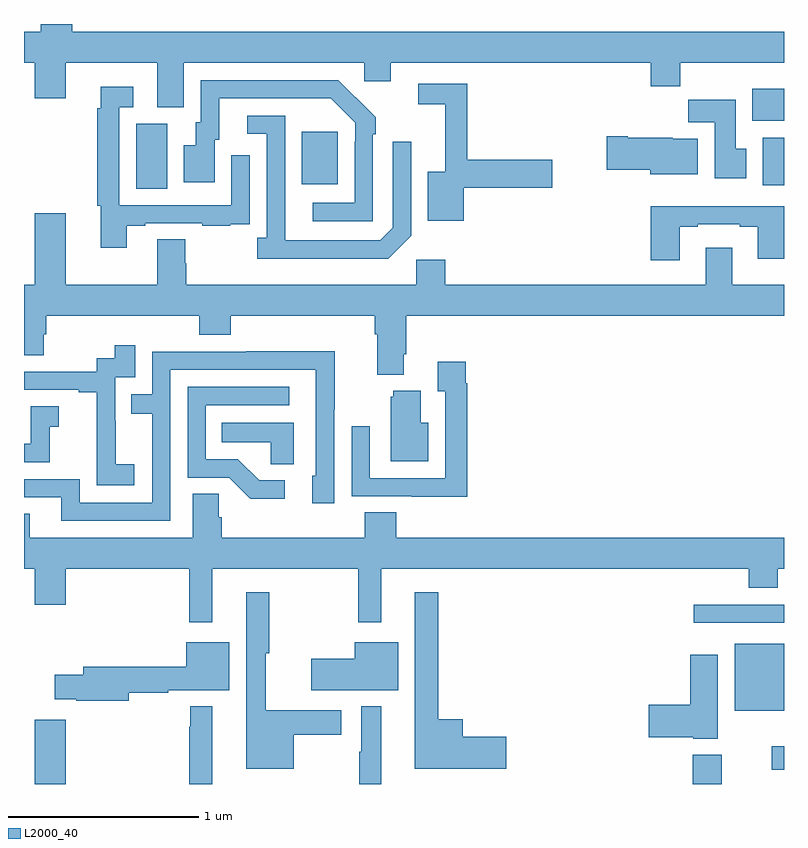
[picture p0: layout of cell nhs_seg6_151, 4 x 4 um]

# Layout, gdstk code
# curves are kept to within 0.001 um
import gdstk
lib = gdstk.Library(unit=1e-6, precision=1e-09)
def R(c, l, rs):  # rectangles x0, y0, x1, y1
    for r in rs: c.add(gdstk.rectangle(r[:2], r[2:], *l))
def P(c, l, *ps):  # polygons
    for p in ps: c.add(gdstk.Polygon(p, *l))
L2000_40 = (2000, 40)

nhs_seg6_151 = lib.new_cell('nhs_seg6_151')
R(nhs_seg6_151, L2000_40, [(117.056,983.5,117.22,983.839), (120.521,983.5,120.673,983.653), (120.936,983.576,121,983.698), (120.74,983.885,121,984.238), (120.525,984.348,121,984.444), (117.59,986.632,117.754,986.976), (120.887,986.652,121,986.902), (118.463,986.657,118.651,986.932), (120.833,986.99,121,987.16)])
P(nhs_seg6_151, L2000_40, [(117.841,987.296),(118.791,987.296),(118.791,987.198),(118.93,987.198),(118.93,987.296),(120.299,987.296),(120.299,987.172),(120.455,987.172),(120.455,987.296),(121,987.296),(121,987.46),(117.254,987.46),(117.254,987.5),(117.089,987.5),(117.089,987.46),(117,987.46),(117,987.296),(117.056,987.296),(117.056,987.108),(117.22,987.108),(117.22,987.296),(117.701,987.296),(117.701,987.061),(117.841,987.061)],
  [(118.836,986.921),(118.851,986.921),(118.851,987.009),(118.654,987.204),(117.93,987.204),(117.93,986.982),(117.905,986.982),(117.905,986.863),(117.842,986.863),(117.842,986.667),(118.003,986.667),(118.003,986.892),(118.027,986.892),(118.027,987.108),(118.615,987.108),(118.743,986.979),(118.743,986.879),(118.74,986.879),(118.74,986.559),(118.521,986.559),(118.521,986.463),(118.836,986.463)],
  [(119.314,986.639),(119.779,986.639),(119.779,986.786),(119.333,986.786),(119.333,987.186),(119.076,987.186),(119.076,987.078),(119.216,987.078),(119.216,986.722),(119.126,986.722),(119.126,986.465),(119.314,986.465)],
  [(117.541,986.439),(117.637,986.439),(117.637,986.451),(117.937,986.451),(117.937,986.439),(118.085,986.439),(118.085,986.445),(118.187,986.445),(118.187,986.554),(118.188,986.554),(118.188,986.809),(118.092,986.809),(118.092,986.547),(117.501,986.547),(117.501,987.063),(117.574,987.063),(117.574,987.169),(117.404,987.169),(117.404,987.056),(117.385,987.056),(117.385,986.544),(117.404,986.544),(117.404,986.322),(117.541,986.322)],
  [(120.802,986.844),(120.745,986.844),(120.745,987.102),(120.496,987.102),(120.496,986.984),(120.635,986.984),(120.635,986.688),(120.802,986.688)],
  [(119.037,986.385),(119.037,986.881),(118.941,986.881),(118.941,986.427),(118.875,986.361),(118.375,986.361),(118.374,987.018),(118.176,987.018),(118.176,986.922),(118.278,986.922),(118.278,986.374),(118.227,986.374),(118.227,986.264),(118.916,986.264)],
  [(120.547,986.896),(120.414,986.896),(120.414,986.902),(120.178,986.902),(120.178,986.91),(120.066,986.91),(120.066,986.732),(120.296,986.732),(120.296,986.708),(120.547,986.708)],
  [(120.451,986.433),(120.547,986.433),(120.547,986.445),(120.767,986.445),(120.767,986.433),(120.863,986.433),(120.863,986.264),(121,986.264),(121,986.542),(120.299,986.542),(120.299,986.256),(120.451,986.256)],
  [(118.999,985.762),(119.012,985.762),(119.012,985.964),(121,985.964),(121,986.128),(120.727,986.128),(120.727,986.323),(120.587,986.323),(120.587,986.128),(119.216,986.128),(119.216,986.26),(119.064,986.26),(119.064,986.128),(117.854,986.128),(117.854,986.241),(117.849,986.241),(117.849,986.366),(117.701,986.366),(117.701,986.128),(117.22,986.128),(117.22,986.503),(117.056,986.503),(117.056,986.128),(117,986.128),(117,985.756),(117.103,985.756),(117.103,985.866),(117.116,985.866),(117.116,985.964),(117.923,985.964),(117.923,985.865),(118.088,985.865),(118.088,985.964),(118.847,985.964),(118.847,985.868),(118.859,985.868),(118.859,985.655),(118.999,985.655)],
  [(117.58,985.183),(117.482,985.183),(117.482,985.412),(117.48,985.412),(117.48,985.641),(117.585,985.641),(117.585,985.81),(117.477,985.81),(117.477,985.74),(117.384,985.74),(117.384,985.671),(117,985.671),(117,985.575),(117.287,985.575),(117.287,985.563),(117.383,985.563),(117.383,985.279),(117.382,985.279),(117.382,985.073),(117.58,985.073)],
  [(117.771,985.68),(118.536,985.68),(118.536,985.122),(118.517,985.122),(118.517,984.978),(118.632,984.978),(118.632,985.471),(118.635,985.471),(118.635,985.778),(118.171,985.778),(118.171,985.776),(117.675,985.776),(117.675,985.551),(117.565,985.551),(117.565,985.45),(117.675,985.45),(117.675,984.981),(117.294,984.981),(117.294,985.104),(117,985.104),(117,985.008),(117.197,985.008),(117.197,984.885),(117.771,984.885)],
  [(119.333,985.61),(119.326,985.61),(119.326,985.723),(119.177,985.723),(119.177,985.567),(119.217,985.567),(119.217,985.11),(118.821,985.11),(118.821,985.384),(118.725,985.384),(118.725,985.014),(119.041,985.014),(119.041,985.013),(119.333,985.013)],
  [(118.372,985.098),(118.237,985.098),(118.126,985.209),(117.957,985.209),(117.957,985.494),(118.396,985.494),(118.396,985.59),(117.861,985.59),(117.861,985.113),(118.08,985.113),(118.193,985.001),(118.372,985.001)],
  [(119.128,985.402),(119.089,985.402),(119.089,985.57),(118.943,985.57),(118.943,985.539),(118.931,985.539),(118.931,985.199),(119.128,985.199)],
  [(117.135,985.379),(117.184,985.379),(117.184,985.489),(117.036,985.489),(117.036,985.29),(117,985.29),(117,985.194),(117.135,985.194)],
  [(118.42,985.402),(118.042,985.402),(118.042,985.298),(118.299,985.298),(118.299,985.183),(118.42,985.183)],
  [(117.991,984.632),(118.758,984.632),(118.758,984.351),(118.879,984.351),(118.879,984.632),(120.815,984.632),(120.815,984.533),(120.967,984.533),(120.967,984.632),(121,984.632),(121,984.796),(118.958,984.796),(118.958,984.929),(118.793,984.929),(118.793,984.796),(118.04,984.796),(118.04,984.905),(118.026,984.905),(118.026,985.028),(117.887,985.028),(117.887,984.796),(117.031,984.796),(117.031,984.923),(117,984.923),(117,984.632),(117.056,984.632),(117.056,984.444),(117.22,984.444),(117.22,984.632),(117.87,984.632),(117.87,984.351),(117.991,984.351)],
  [(118.42,983.758),(118.669,983.758),(118.669,983.887),(118.273,983.887),(118.273,984.189),(118.291,984.189),(118.291,984.508),(118.169,984.508),(118.169,983.579),(118.42,983.579)],
  [(119.539,983.75),(119.308,983.75),(119.308,983.842),(119.179,983.842),(119.179,984.508),(119.057,984.508),(119.057,983.579),(119.539,983.579)],
  [(118.969,984.247),(118.742,984.247),(118.742,984.159),(118.512,984.159),(118.512,983.993),(118.969,983.993)],
  [(117.55,983.98),(117.758,983.98),(117.758,983.993),(118.081,983.993),(118.081,984.247),(117.854,984.247),(117.854,984.116),(117.311,984.116),(117.311,984.075),(117.162,984.075),(117.162,983.945),(117.274,983.945),(117.274,983.938),(117.55,983.938)],
  [(120.652,984.181),(120.506,984.181),(120.506,983.918),(120.288,983.918),(120.288,983.747),(120.522,983.747),(120.522,983.738),(120.652,983.738)],
  [(117.991,983.908),(117.876,983.908),(117.876,983.801),(117.87,983.801),(117.87,983.5),(117.991,983.5)],
  [(118.879,983.908),(118.775,983.908),(118.775,983.669),(118.765,983.669),(118.765,983.5),(118.879,983.5)])

lib.write_gds('nhs_seg6_151.gds')
